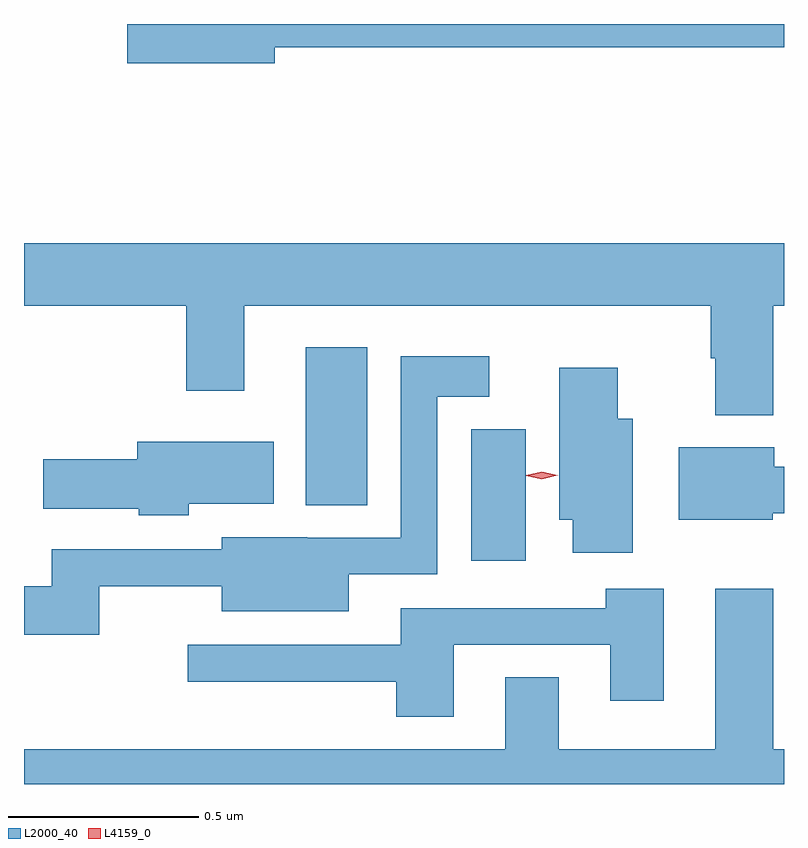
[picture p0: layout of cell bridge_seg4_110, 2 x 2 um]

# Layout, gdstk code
import gdstk
lib = gdstk.Library(unit=1e-6, precision=1e-09)
def R(c, l, rs):  # rectangles x0, y0, x1, y1
    for r in rs: c.add(gdstk.rectangle(r[:2], r[2:], *l))
def P(c, l, *ps):  # polygons
    for p in ps: c.add(gdstk.Polygon(p, *l))
L2000_40 = (2000, 40)
L4159_0 = (4159, 0)

bridge_seg4_110 = lib.new_cell('bridge_seg4_110')
R(bridge_seg4_110, L2000_40, [(570.281,773.505,570.424,773.851), (569.846,773.651,570.007,774.067)])
P(bridge_seg4_110, L2000_40, [(569.764,774.856),(571.104,774.856),(571.104,774.917),(569.376,774.917),(569.376,774.814),(569.764,774.814)],
  [(571.076,774.176),(571.104,774.176),(571.104,774.34),(569.104,774.34),(569.104,774.176),(569.531,774.176),(569.531,773.952),(569.683,773.952),(569.683,774.176),(570.911,774.176),(570.911,774.038),(570.923,774.038),(570.923,773.888),(571.076,773.888)],
  [(569.302,773.438),(569.624,773.438),(569.624,773.372),(569.959,773.372),(569.959,773.469),(570.192,773.469),(570.192,773.936),(570.328,773.936),(570.328,774.043),(570.096,774.043),(570.096,773.565),(569.85,773.565),(569.85,773.566),(569.624,773.566),(569.624,773.535),(569.177,773.535),(569.177,773.438),(569.104,773.438),(569.104,773.31),(569.302,773.31)],
  [(570.706,773.878),(570.667,773.878),(570.667,774.013),(570.512,774.013),(570.512,773.612),(570.548,773.612),(570.548,773.526),(570.706,773.526)],
  [(569.538,773.654),(569.761,773.654),(569.761,773.818),(569.402,773.818),(569.402,773.772),(569.154,773.772),(569.154,773.642),(569.406,773.642),(569.406,773.624),(569.538,773.624)],
  [(571.074,773.63),(571.104,773.63),(571.104,773.752),(571.078,773.752),(571.078,773.803),(570.827,773.803),(570.827,773.612),(571.074,773.612)],
  [(571.104,773.008),(571.076,773.008),(571.076,773.431),(570.923,773.431),(570.923,773.008),(570.511,773.008),(570.511,773.198),(570.371,773.198),(570.371,773.008),(569.104,773.008),(569.104,772.917),(571.104,772.917)],
  [(570.235,773.283),(570.647,773.283),(570.647,773.136),(570.787,773.136),(570.787,773.431),(570.635,773.431),(570.635,773.379),(570.095,773.379),(570.095,773.283),(569.535,773.283),(569.535,773.186),(570.083,773.186),(570.083,773.094),(570.235,773.094)])
P(bridge_seg4_110, L4159_0, [(570.467,773.719),(570.426,773.728),(570.426,773.729),(570.426,773.729),(570.467,773.739),(570.508,773.73),(570.508,773.73),(570.508,773.73)])

lib.write_gds('bridge_seg4_110.gds')
